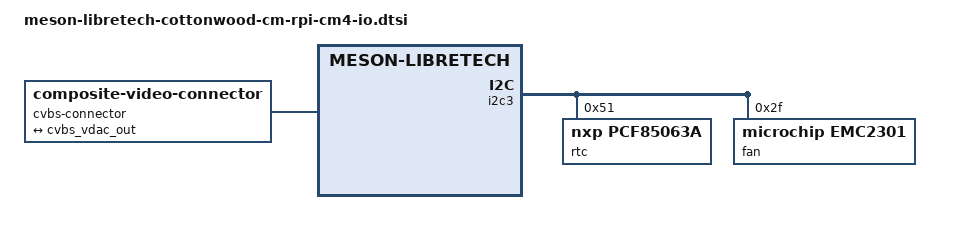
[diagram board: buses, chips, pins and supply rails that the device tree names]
// SPDX-License-Identifier: (GPL-2.0+ OR MIT)
/*
 * Libre Computer Cottonwood CM on RPi CM4-IO carrier board
 *
 * CM4-IO-specific hardware not present on CM5-IO:
 * - CVBS composite video connector (pin 111 = VDAC_COMP)
 *   CM5-IO repurposes pin 111 for VBUS_EN, so no CVBS.
 * - PCF85063AT RTC at I2C 0x51 (connector pins 80/82, GPIOA_14/A_15, i2c3)
 * - EMC2301 fan controller at I2C 0x2f (same bus)
 * - 12V barrel jack power input (carrier steps down to 5V)
 */

/ {
	/* TOFIX: handle CVBS_DET on SARADC channel 0 */
	cvbs-connector {
		compatible = "composite-video-connector";

		port {
			cvbs_connector_in: endpoint {
				remote-endpoint = <&cvbs_vdac_out>;
			};
		};
	};
};

&cvbs_vdac_port {
	cvbs_vdac_out: endpoint {
		remote-endpoint = <&cvbs_connector_in>;
	};
};

&i2c3 {
	status = "okay";
	pinctrl-0 = <&i2c3_sda_a_pins>, <&i2c3_sck_a_pins>;
	pinctrl-names = "default";

	rtc@51 {
		compatible = "nxp,pcf85063a";
		reg = <0x51>;
	};

	fan@2f {
		compatible = "microchip,emc2301";
		reg = <0x2f>;
	};
};
